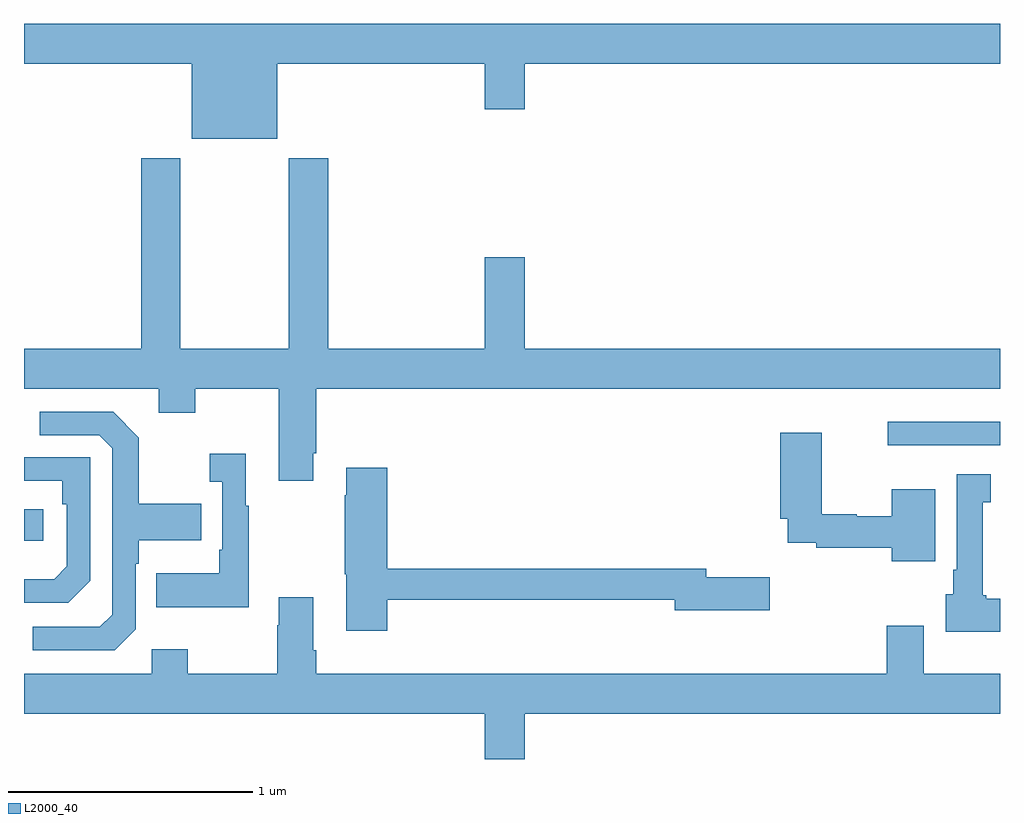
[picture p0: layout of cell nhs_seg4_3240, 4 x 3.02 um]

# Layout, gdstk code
import gdstk
lib = gdstk.Library(unit=1e-6, precision=1e-09)
def R(c, l, rs):  # rectangles x0, y0, x1, y1
    for r in rs: c.add(gdstk.rectangle(r[:2], r[2:], *l))
def P(c, l, *ps):  # polygons
    for p in ps: c.add(gdstk.Polygon(p, *l))
L2000_40 = (2000, 40)

nhs_seg4_3240 = lib.new_cell('nhs_seg4_3240')
R(nhs_seg4_3240, L2000_40, [(283,756.236,283.078,756.366), (286.539,756.627,287,756.724)])
P(nhs_seg4_3240, L2000_40, [(284.038,758.192),(284.888,758.192),(284.888,758.004),(285.052,758.004),(285.052,758.192),(287,758.192),(287,758.356),(283,758.356),(283,758.192),(283.688,758.192),(283.688,757.883),(284.038,757.883)],
  [(284.185,756.595),(284.198,756.595),(284.198,756.86),(287,756.86),(287,757.024),(285.052,757.024),(285.052,757.399),(284.888,757.399),(284.888,757.024),(284.246,757.024),(284.246,757.804),(284.086,757.804),(284.086,757.024),(283.641,757.024),(283.641,757.804),(283.481,757.804),(283.481,757.024),(283,757.024),(283,756.86),(283.553,756.86),(283.553,756.761),(283.701,756.761),(283.701,756.86),(284.045,756.86),(284.045,756.483),(284.185,756.483)],
  [(283.458,755.874),(283.458,756.143),(283.471,756.143),(283.471,756.239),(283.727,756.239),(283.727,756.387),(283.471,756.387),(283.471,756.659),(283.365,756.765),(283.065,756.765),(283.065,756.669),(283.308,756.669),(283.362,756.615),(283.362,755.934),(283.311,755.883),(283.035,755.883),(283.035,755.787),(283.371,755.787)],
  [(286.735,756.448),(286.556,756.448),(286.556,756.337),(286.413,756.337),(286.413,756.344),(286.27,756.344),(286.27,756.679),(286.1,756.679),(286.1,756.326),(286.13,756.326),(286.13,756.228),(286.246,756.228),(286.246,756.208),(286.556,756.208),(286.556,756.152),(286.735,756.152)],
  [(283.921,756.379),(283.909,756.379),(283.909,756.592),(283.761,756.592),(283.761,756.479),(283.812,756.479),(283.812,756.199),(283.8,756.199),(283.8,756.103),(283.543,756.103),(283.543,755.963),(283.921,755.963)],
  [(283.272,756.072),(283.272,756.579),(283,756.579),(283,756.483),(283.156,756.483),(283.156,756.386),(283.176,756.386),(283.176,756.132),(283.123,756.079),(283,756.079),(283,755.982),(283.182,755.982)],
  [(284.489,755.994),(285.668,755.994),(285.668,755.951),(286.057,755.951),(286.057,756.086),(285.796,756.086),(285.796,756.122),(284.489,756.122),(284.489,756.535),(284.321,756.535),(284.321,756.422),(284.314,756.422),(284.314,756.099),(284.321,756.099),(284.321,755.868),(284.489,755.868)],
  [(287,755.998),(286.944,755.998),(286.944,756.012),(286.93,756.012),(286.93,756.395),(286.963,756.395),(286.963,756.508),(286.823,756.508),(286.823,756.118),(286.808,756.118),(286.808,756.018),(286.778,756.018),(286.778,755.864),(287,755.864)],
  [(285.052,755.528),(287,755.528),(287,755.692),(286.687,755.692),(286.687,755.887),(286.535,755.887),(286.535,755.692),(284.198,755.692),(284.198,755.788),(284.185,755.788),(284.185,756.004),(284.045,756.004),(284.045,755.891),(284.038,755.891),(284.038,755.692),(283.671,755.692),(283.671,755.791),(283.524,755.791),(283.524,755.692),(283,755.692),(283,755.528),(284.888,755.528),(284.888,755.34),(285.052,755.34)])

lib.write_gds('nhs_seg4_3240.gds')
